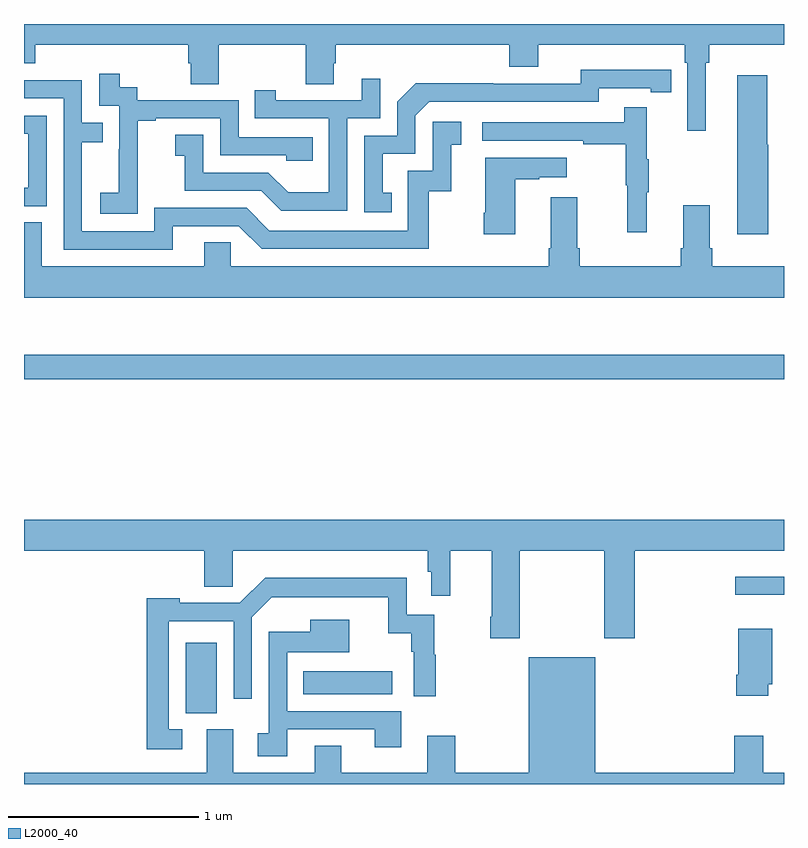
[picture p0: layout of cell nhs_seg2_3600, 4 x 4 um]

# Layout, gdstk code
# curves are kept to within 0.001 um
import gdstk
lib = gdstk.Library(unit=1e-6, precision=1e-09)
def R(c, l, rs):  # rectangles x0, y0, x1, y1
    for r in rs: c.add(gdstk.rectangle(r[:2], r[2:], *l))
def P(c, l, *ps):  # polygons
    for p in ps: c.add(gdstk.Polygon(p, *l))
L2000_40 = (2000, 40)

nhs_seg2_3600 = lib.new_cell('nhs_seg2_3600')
R(nhs_seg2_3600, L2000_40, [(301.85,588.172,302.014,588.544), (302.47,588.272,302.938,588.394), (304.743,588.795,305,588.892), (301,589.93,305,590.059)])
P(nhs_seg2_3600, L2000_40, [(304.588,591.596),(304.607,591.596),(304.607,591.692),(305,591.692),(305,591.8),(301,591.8),(301,591.593),(301.058,591.593),(301.058,591.692),(301.865,591.692),(301.865,591.594),(301.877,591.594),(301.877,591.484),(302.025,591.484),(302.025,591.692),(302.482,591.692),(302.482,591.484),(302.629,591.484),(302.629,591.594),(302.642,591.594),(302.642,591.692),(303.554,591.692),(303.554,591.575),(303.706,591.575),(303.706,591.692),(304.478,591.692),(304.478,591.596),(304.491,591.596),(304.491,591.237),(304.588,591.237)],
  [(302.936,590.913),(302.887,590.913),(302.887,591.117),(303.06,591.117),(303.06,591.318),(303.132,591.39),(304.026,591.39),(304.026,591.462),(304.298,591.462),(304.298,591.442),(304.406,591.442),(304.406,591.558),(303.93,591.559),(303.93,591.486),(303.47,591.486),(303.47,591.488),(303.062,591.488),(302.964,591.39),(302.964,591.213),(302.79,591.213),(302.79,590.808),(302.936,590.808)],
  [(301.599,591.007),(301.598,591.007),(301.598,591.291),(301.693,591.291),(301.693,591.303),(302.034,591.303),(302.034,591.108),(302.379,591.108),(302.379,591.081),(302.519,591.081),(302.519,591.204),(302.13,591.204),(302.13,591.399),(301.596,591.399),(301.596,591.468),(301.504,591.468),(301.504,591.538),(301.395,591.538),(301.395,591.369),(301.5,591.369),(301.5,591.14),(301.499,591.14),(301.499,590.911),(301.401,590.911),(301.401,590.801),(301.599,590.801)],
  [(304.918,591.165),(304.913,591.165),(304.913,591.529),(304.754,591.529),(304.754,590.694),(304.918,590.694)],
  [(302.7,591.303),(302.874,591.303),(302.874,591.511),(302.777,591.511),(302.777,591.399),(302.326,591.399),(302.326,591.451),(302.215,591.451),(302.215,591.303),(302.604,591.303),(302.604,590.914),(302.39,590.914),(302.286,591.018),(301.944,591.018),(301.944,591.217),(301.797,591.217),(301.797,591.107),(301.846,591.107),(301.846,590.922),(302.249,590.922),(302.354,590.817),(302.7,590.817)],
  [(301.783,590.736),(302.13,590.736),(302.25,590.616),(303.13,590.616),(303.13,590.919),(303.248,590.919),(303.248,591.165),(303.301,591.165),(303.301,591.286),(303.15,591.286),(303.15,591.027),(303.021,591.027),(303.021,590.712),(302.292,590.712),(302.172,590.832),(301.686,590.832),(301.686,590.709),(301.305,590.709),(301.305,591.178),(301.415,591.178),(301.415,591.279),(301.305,591.279),(301.305,591.504),(301,591.504),(301,591.408),(301.209,591.408),(301.209,590.613),(301.783,590.613)],
  [(304.277,590.915),(304.288,590.915),(304.288,591.089),(304.277,591.089),(304.277,591.361),(304.159,591.361),(304.159,591.282),(303.411,591.282),(303.411,591.186),(303.943,591.186),(303.943,591.166),(304.167,591.166),(304.167,590.952),(304.174,590.952),(304.174,590.703),(304.277,590.703)],
  [(301.119,591.318),(301,591.318),(301,591.222),(301.023,591.222),(301.023,590.937),(301,590.937),(301,590.841),(301.119,590.841)],
  [(303.586,590.983),(303.713,590.983),(303.713,590.993),(303.856,590.993),(303.856,591.097),(303.428,591.097),(303.428,590.806),(303.421,590.806),(303.421,590.694),(303.586,590.694)],
  [(305,590.524),(304.622,590.524),(304.622,590.62),(304.609,590.62),(304.609,590.845),(304.469,590.845),(304.469,590.62),(304.457,590.62),(304.457,590.524),(303.926,590.524),(303.926,590.62),(303.913,590.62),(303.913,590.887),(303.773,590.887),(303.773,590.62),(303.761,590.62),(303.761,590.524),(302.088,590.524),(302.088,590.651),(301.949,590.651),(301.949,590.524),(301.093,590.524),(301.093,590.756),(301,590.756),(301,590.36),(305,590.36)],
  [(303.609,589.028),(304.054,589.028),(304.054,588.567),(304.214,588.567),(304.214,589.028),(305,589.028),(305,589.192),(301,589.192),(301,589.028),(301.949,589.028),(301.949,588.838),(302.099,588.838),(302.099,589.028),(303.124,589.028),(303.124,588.918),(303.144,588.918),(303.144,588.792),(303.243,588.792),(303.243,589.028),(303.461,589.028),(303.461,588.679),(303.454,588.679),(303.454,588.567),(303.609,588.567)],
  [(301.834,588.087),(301.761,588.087),(301.761,588.657),(302.103,588.657),(302.103,588.249),(302.199,588.249),(302.199,588.678),(302.304,588.783),(302.918,588.782),(302.918,588.593),(303.039,588.593),(303.039,588.497),(303.051,588.497),(303.051,588.261),(303.167,588.261),(303.167,588.48),(303.16,588.48),(303.16,588.69),(303.015,588.69),(303.015,588.886),(302.269,588.886),(302.136,588.753),(301.821,588.753),(301.821,588.778),(301.645,588.778),(301.645,587.982),(301.834,587.982)],
  [(302.386,588.087),(302.846,588.087),(302.846,587.994),(302.986,587.994),(302.986,588.183),(302.385,588.183),(302.385,588.494),(302.713,588.494),(302.713,588.664),(302.507,588.664),(302.507,588.601),(302.289,588.601),(302.289,588.066),(302.229,588.066),(302.229,587.946),(302.386,587.946)],
  [(304.918,588.324),(304.939,588.324),(304.939,588.616),(304.76,588.616),(304.76,588.376),(304.748,588.376),(304.748,588.264),(304.918,588.264)],
  [(305,587.86),(304.891,587.86),(304.891,588.055),(304.739,588.055),(304.739,587.86),(304.006,587.86),(304.006,588.466),(303.656,588.466),(303.656,587.86),(303.27,587.86),(303.27,588.055),(303.122,588.055),(303.122,587.86),(302.671,587.86),(302.671,588.002),(302.531,588.002),(302.531,587.86),(302.101,587.86),(302.101,588.087),(301.961,588.087),(301.961,587.86),(301,587.86),(301,587.8),(305,587.8)])

lib.write_gds('nhs_seg2_3600.gds')
